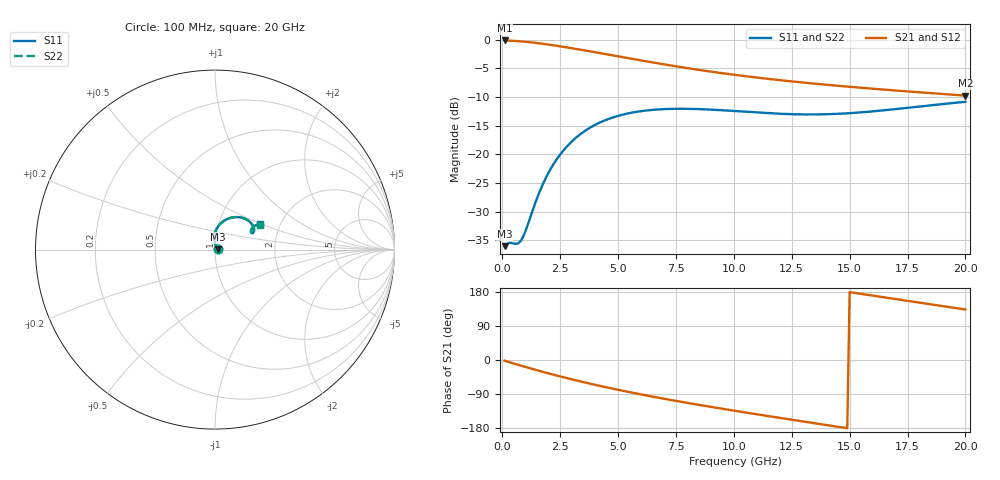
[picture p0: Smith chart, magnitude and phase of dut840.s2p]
! Touchstone file exported from HFSS 2024.1.0
!  File:  C:/UserFiles/LocalFiles/RDL_TSV_Batchsim/temp_RDL_TSV_840_1779919920.aedt
!  Generated:  06:26:58 AM May 28, 2026
!  Design:  RDL_TSV
!  Project:  temp_RDL_TSV_840_1779919920
!  Setup:  Setup1
!  Solution:  Sweep
! Variables:
!  dtsv = 9.3um
!  hbump = 3um
!  htsv = 73.57um
!  ldown = 417.9um
!  lrdl = 529.87um
!  p = 40
!  p1 = 45.92um
!  rhole = 10um
!  subl = 3373.18um
!  t = 450um
!  tdown = 4.43um
!  trdl = 3.68um
!  viad = 10um
!  wdown = 14.2um
!  wrdl = 26.59um
!  xbump = 18um
# GHz S MA R 50.000000
! Terminal data exported
! Port[1] = TM1_1_T1
! Port[2] = TM1_4_T1
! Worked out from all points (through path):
!   200 points, 100 MHz to 20 GHz, reference 50 ohm
!   highest |S21| = -0.14 dB at 100 MHz (marker M1); lowest = -9.8 dB at 20 GHz (marker M2)
!   group delay of S21, straight-line fit = 29.8 ps
!   lowest |S11| = -36.0 dB at 100 MHz (marker M3), VSWR 1.03, Z = 51.6 + j0.244 ohm
!   |S11| at or under -10 dB: start of sweep to end of sweep
!   |S22| runs from -36.0 to -10.9 dB; largest |S21 - S12| = 2.7e-14
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0.1  0.01582 8.6  0.984 -1.9  0.984 -1.9  0.01582 8.6
! Gamma 0 0 0 0
! Port Impedance 50 0 50 0
0.3  0.01691 18.9  0.9805 -5.7  0.9805 -5.7  0.01692 18.9
0.6  0.01657 37.6  0.973 -11.2  0.973 -11.2  0.01657 37.6
0.8  0.0176 56.0  0.9664 -14.8  0.9664 -14.8  0.0176 55.9
1  0.02136 73.3  0.9587 -18.4  0.9587 -18.4  0.02134 73.3
1.6  0.04657 94.1  0.9292 -28.8  0.9292 -28.8  0.04652 94.1
1.8  0.05761 94.6  0.9178 -32.1  0.9178 -32.1  0.05756 94.6
2.1  0.07528 93.2  0.8999 -37.0  0.8999 -37.0  0.07522 93.2
2.7  0.1117 86.6  0.8619 -46.5  0.8619 -46.5  0.1116 86.6
3.5  0.1566 75.7  0.8099 -58.3  0.8099 -58.3  0.1566 75.8
4.2  0.1889 66.4  0.7648 -68.1  0.7648 -68.1  0.1889 66.5
4.9  0.2136 58.0  0.7215 -77.3  0.7215 -77.3  0.2137 58.0
5.8  0.2348 48.6  0.6695 -88.5  0.6695 -88.5  0.235 48.6
6.8  0.2467 40.0  0.6177 -100.2  0.6177 -100.2  0.2471 40.1
8.4  0.2483 30.3  0.5485 -117.5  0.5485 -117.5  0.2489 30.3
10.1  0.2381 24.8  0.4915 -134.6  0.4915 -134.6  0.2389 24.8
11.7  0.2273 23.7  0.4498 -150.0  0.4498 -150.0  0.2282 23.6
13.4  0.2227 25.6  0.4148 -166.0  0.4148 -166.0  0.2235 25.4
15  0.2285 28.5  0.3879 179.1  0.3879 179.1  0.2291 28.1
16.7  0.2446 30.6  0.3638 163.4  0.3638 163.4  0.2449 30.2
18.4  0.2663 30.8  0.3428 147.8  0.3428 147.8  0.2662 30.3
20  0.2871 29.2  0.3254 133.3  0.3254 133.3  0.2867 28.8
